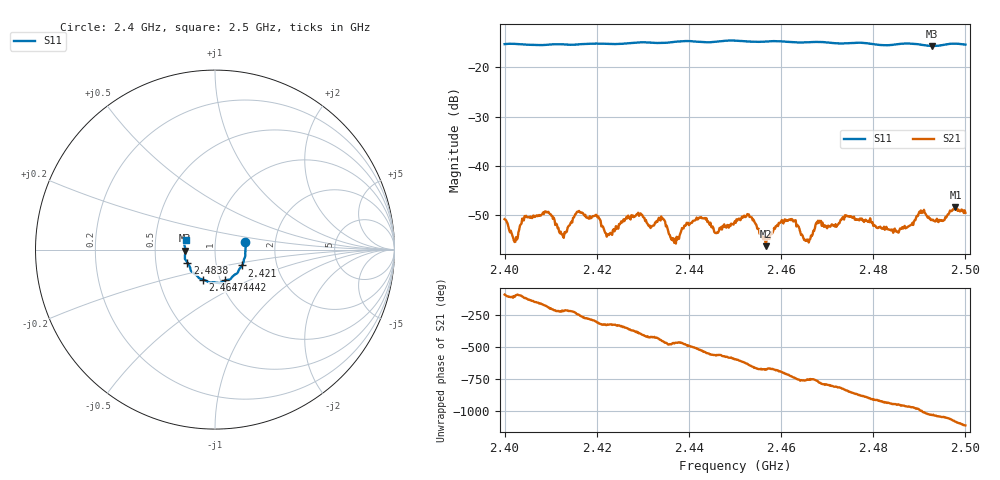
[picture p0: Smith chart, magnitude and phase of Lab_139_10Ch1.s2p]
# Hz S RI R 50
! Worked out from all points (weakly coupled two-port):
!   601 points, 2.4 GHz to 2.5 GHz, reference 50 ohm
!   highest |S21| = -48.51 dB at 2.4978 GHz (marker M1); lowest = -56.4 dB at 2.4567 GHz (marker M2)
!   lowest |S11| = -15.6 dB at 2.4928 GHz (marker M3), VSWR 1.40, Z = 35.8 - j0.376 ohm
!   |S11| at or under -10 dB: start of sweep to end of sweep
!   S12 and S22 are empty: the file has one direction only
!   S11 on the Smith chart (normalised r, x): 2.4 GHz: 1.40, +0.12; 2.421 GHz: 1.33, -0.24; 2.4442 GHz: 1.05, -0.37; 2.4647 GHz: 0.83, -0.29; 2.4838 GHz: 0.73, -0.11; 2.5 GHz: 0.72, +0.08
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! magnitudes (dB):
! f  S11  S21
! 2.4 GHz  -15.2  -50.9
! 2.4023 GHz  -15.2  -55.5
! 2.4048 GHz  -15.4  -50.5
! 2.4093 GHz  -15.4  -49.5
! 2.4128 GHz  -15.3  -54.7
! 2.4167 GHz  -15.2  -49.6
! 2.421 GHz  -15.1  -52.4
! 2.4333 GHz  -15.0  -51.0
! 2.4367 GHz  -14.8  -54.8
! 2.4442 GHz  -14.9  -51.4
! 2.45 GHz  -14.5  -51.3
! 2.4532 GHz  -14.7  -50.5
! 2.4567 GHz  -14.7  -56.4
! 2.462 GHz  -14.8  -50.9
! 2.4647 GHz  -14.9  -54.3
! 2.4667 GHz  -14.8  -54.3
! 2.4743 GHz  -15.1  -50.3
! 2.4833 GHz  -15.4  -53.0
! 2.4838 GHz  -15.4  -53.2
! 2.4928 GHz  -15.6  -51.1
! 2.4978 GHz  -15.1  -48.5
! 2.5 GHz  -15.3  -49.6
